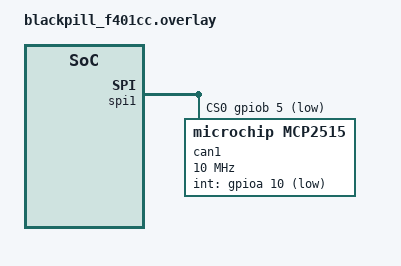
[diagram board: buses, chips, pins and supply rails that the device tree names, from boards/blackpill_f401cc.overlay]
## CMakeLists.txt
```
# SPDX-License-Identifier: Apache-2.0
cmake_minimum_required(VERSION 3.26)
set(BOARD blackpill_f401cc)
#set(DTC_OVERLAY_FILE "${CMAKE_CURRENT_SOURCE_DIR}/boards/stm32f401.overlay")
#set(DTC_OVERLAY_FILE "boards/blackpill_f401cc.overlay")
find_package(Zephyr REQUIRED HINTS $ENV{ZEPHYR_BASE})

project(NONE)

target_sources(app PRIVATE
        src/main.c
)

# Other board-specific configuration options can go here
```

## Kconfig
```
CONFIG_POLL=y
CONFIG_CAN=y
CONFIG_CAN_INIT_PRIORITY=80
CONFIG_CAN_MAX_FILTER=5

CONFIG_SHELL=y
CONFIG_CAN_SHELL=y
CONFIG_DEVICE_SHELL=y

CONFIG_GPIO=y
CONFIG_STATS=y
CONFIG_STATS_NAMES=y
CONFIG_STATS_SHELL=y
CONFIG_CAN_STATS=y
```

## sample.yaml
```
sample:
  name: CAN driver counter sample
tests:
  sample.drivers.can.counter:
    tags: can
    depends_on: can
    integration_platforms:
      - native_posix
    filter: dt_chosen_enabled("CAN,0")
    harness: console
    harness_config:
      type: one_line
      regex:
        - "Counter received: (.*)"
```

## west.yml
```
manifest:
  defaults:
    remote: zephyrproject-rtos
  remotes:
    - name: zephyrproject-rtos
      url-base: https://github.com/zephyrproject-rtos
```

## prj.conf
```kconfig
CONFIG_SHELL=y
CONFIG_CAN_SHELL=y
CONFIG_DEVICE_SHELL=y

CONFIG_GPIO=y

CONFIG_CAN=y
CONFIG_CAN_MCP2515=y
CONFIG_CAN_LOOPBACK=y

CONFIG_POLL=y
CONFIG_CAN=y
CONFIG_CAN_INIT_PRIORITY=80
CONFIG_CAN_MAX_FILTER=5

CONFIG_SHELL=y
CONFIG_CAN_SHELL=y
CONFIG_DEVICE_SHELL=y

CONFIG_GPIO=y
CONFIG_STATS=y
CONFIG_STATS_NAMES=y
CONFIG_STATS_SHELL=y
CONFIG_CAN_STATS=y
```

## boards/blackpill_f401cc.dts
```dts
/ {
    model = "WeAct Studio Black Pill V3.0 Board";
    compatible = "weact,blackpill-f401cc";

    chosen {
        zephyr,canbus = &can22;
    };
};

&can22 {
    status = "disabled";
    pinctrl-0 = <19 20>;
    pinctrl-names = "default";
    bus-speed = <125000>;
};
```

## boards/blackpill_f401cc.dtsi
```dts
/ {
    chosen {
        zephyr,console = &uart1;
    };

    aliases {
        uart1 = &usart1;
    };

    led0: led0 {
        gpios = <&gpioa 5 GPIO_ACTIVE_LOW>;
    };

    can0: can@0 {
        compatible = "microchip,mcp2515";
        reg = <0>;
        spi-max-frequency = <1000000>;
        interrupt-parent = <&gpioa>;
        interrupts = <4 GPIO_ACTIVE_LOW>;
        status = "okay";
    };
};
```

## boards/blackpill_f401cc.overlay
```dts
&spi1 {
    status = "okay";
    cs-gpios = <&gpiob 5 GPIO_ACTIVE_LOW>;

    can1: mcp2515@0 {
        compatible = "microchip,mcp2515";
        reg = <0>;
        spi-max-frequency = <10000000>;
        int-gpios = <&gpioa 10 GPIO_ACTIVE_LOW>;
        status = "okay";
        #address-cells = <1>;
        #size-cells = <0>;
        osc-freq = <20000000>;
        bus-speed = <500000>;
        sjw = <1>;
        prop-seg = <7>;
        phase-seg1 = <8>;
        phase-seg2 = <7>;
    };
};
```

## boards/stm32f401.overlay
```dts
&spi1 {
    status = "okay";
};

&spi1 {
    status = "okay";
    can0: can_mcp2515 {
        compatible = "microchip,mcp2515";
        /* reg = <0X10>; */
        spi-max-frequency = <1000000>;
        interrupt-parent = <&gpio1>;
        interrupts = <4 0>;
        label = "CAN_0";
    };
};
```

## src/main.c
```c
/*
 * Copyright (c) 2018 Alexander Wachter
 *
 * SPDX-License-Identifier: Apache-2.0
    */

#include <stdio.h>

#include <zephyr/kernel.h>
#include <zephyr/sys/printk.h>
#include <zephyr/device.h>
#include <zephyr/drivers/can.h>
#include <zephyr/drivers/gpio.h>
#include <zephyr/sys/byteorder.h>

#define RX_THREAD_STACK_SIZE 512
#define RX_THREAD_PRIORITY 2
#define STATE_POLL_THREAD_STACK_SIZE 512
#define STATE_POLL_THREAD_PRIORITY 2
#define LED_MSG_ID 0x10
#define COUNTER_MSG_ID 0x12345
#define SET_LED 1
#define RESET_LED 0
#define SLEEP_TIME K_MSEC(250)

K_THREAD_STACK_DEFINE(rx_thread_stack, RX_THREAD_STACK_SIZE);
K_THREAD_STACK_DEFINE(poll_state_stack, STATE_POLL_THREAD_STACK_SIZE);

const struct device *const can_dev = DEVICE_DT_GET(DT_NODELABEL(can1));
struct gpio_dt_spec led = GPIO_DT_SPEC_GET_OR(DT_ALIAS(led0), gpios, {0});

struct k_thread rx_thread_data;
struct k_thread poll_state_thread_data;
struct k_work_poll change_led_work;
struct k_work state_change_work;
enum can_state current_state;
struct can_bus_err_cnt current_err_cnt;

CAN_MSGQ_DEFINE(change_led_msgq, 2);
CAN_MSGQ_DEFINE(counter_msgq, 2);

static struct k_poll_event change_led_events[1] = {
        K_POLL_EVENT_STATIC_INITIALIZER(K_POLL_TYPE_MSGQ_DATA_AVAILABLE,
                                        K_POLL_MODE_NOTIFY_ONLY,
                                        &change_led_msgq, 0)
};

void tx_irq_callback(const struct device *dev, int error, void *arg)
{
    char *sender = (char *)arg;

    ARG_UNUSED(dev);

    if (error != 0) {
        printf("Callback! error-code: %d\nSender: %s\n",
               error, sender);
    }
}

void rx_thread(void *arg1, void *arg2, void *arg3)
{
    ARG_UNUSED(arg1);
    ARG_UNUSED(arg2);
    ARG_UNUSED(arg3);
    const struct can_filter filter = {
            .flags = CAN_FILTER_DATA | CAN_FILTER_IDE,
            .id = COUNTER_MSG_ID,
            .mask = CAN_EXT_ID_MASK
    };
    struct can_frame frame;
    int filter_id;

    filter_id = can_add_rx_filter_msgq(can_dev, &counter_msgq, &filter);
    printf("Counter filter id: %d\n", filter_id);

    while (1) {
        k_msgq_get(&counter_msgq, &frame, K_FOREVER);

        if (frame.dlc != 2U) {
            printf("Wrong data length: %u\n", frame.dlc);
            continue;
        }

        printf("Counter received: %u\n",
               sys_be16_to_cpu(UNALIGNED_GET((uint16_t *)&frame.data)));
    }
}

void change_led_work_handler(struct k_work *work)
{
    struct can_frame frame;
    int ret;

    while (k_msgq_get(&change_led_msgq, &frame, K_NO_WAIT) == 0) {
        if (led.port == NULL) {
            printf("LED %s\n", frame.data[0] == SET_LED ? "ON" : "OFF");
        } else {
            gpio_pin_set(led.port, led.pin, frame.data[0] == SET_LED ? 1 : 0);
        }
    }

    ret = k_work_poll_submit(&change_led_work, change_led_events,
                             ARRAY_SIZE(change_led_events), K_FOREVER);
    if (ret != 0) {
        printf("Failed to resubmit msgq polling: %d", ret);
    }
}

char *state_to_str(enum can_state state)
{
    switch (state) {
        case CAN_STATE_ERROR_ACTIVE:
            return "error-active";
        case CAN_STATE_ERROR_WARNING:
            return "error-warning";
        case CAN_STATE_ERROR_PASSIVE:
            return "error-passive";
        case CAN_STATE_BUS_OFF:
            return "bus-off";
        case CAN_STATE_STOPPED:
            return "stopped";
        default:
            return "unknown";
    }
}

void poll_state_thread(void *unused1, void *unused2, void *unused3)
{
    struct can_bus_err_cnt err_cnt = {0, 0};
    struct can_bus_err_cnt err_cnt_prev = {0, 0};
    enum can_state state_prev = CAN_STATE_ERROR_ACTIVE;
    enum can_state state;
    int err;

    while (1) {
        err = can_get_state(can_dev, &state, &err_cnt);
        if (err != 0) {
            printf("Failed to get CAN controller state: %d", err);
            k_sleep(K_MSEC(100));
            continue;
        }

        if (err_cnt.tx_err_cnt != err_cnt_prev.tx_err_cnt ||
            err_cnt.rx_err_cnt != err_cnt_prev.rx_err_cnt ||
            state_prev != state) {

            err_cnt_prev.tx_err_cnt = err_cnt.tx_err_cnt;
            err_cnt_prev.rx_err_cnt = err_cnt.rx_err_cnt;
            state_prev = state;
            printf("state: %s\n"
                   "rx error count: %d\n"
                   "tx error count: %d\n",
                   state_to_str(state),
                   err_cnt.rx_err_cnt, err_cnt.tx_err_cnt);
        } else {
            k_sleep(K_MSEC(100));
        }
    }
}

void state_change_work_handler(struct k_work *work)
{
    printf("State Change ISR\nstate: %s\n"
           "rx error count: %d\n"
           "tx error count: %d\n",
           state_to_str(current_state),
           current_err_cnt.rx_err_cnt, current_err_cnt.tx_err_cnt);

#ifndef CONFIG_CAN_AUTO_BUS_OFF_RECOVERY
    if (current_state == CAN_STATE_BUS_OFF) {
        printf("Recover from bus-off\n");

        if (can_recover(can_dev, K_MSEC(100)) != 0) {
            printf("Recovery timed out\n");
        }
    }
#endif /* CONFIG_CAN_AUTO_BUS_OFF_RECOVERY */
}

void state_change_callback(const struct device *dev, enum can_state state,
                           struct can_bus_err_cnt err_cnt, void *user_data)
{
    struct k_work *work = (struct k_work *)user_data;

    ARG_UNUSED(dev);

    current_state = state;
    current_err_cnt = err_cnt;
    k_work_submit(work);
}

int main(void)
{
    const struct can_filter change_led_filter = {
            .flags = CAN_FILTER_DATA,
            .id = LED_MSG_ID,
            .mask = CAN_STD_ID_MASK
    };
    struct can_frame change_led_frame = {
            .flags = 0,
            .id = LED_MSG_ID,
            .dlc = 1
    };
    struct can_frame counter_frame = {
            .flags = CAN_FRAME_IDE,
            .id = COUNTER_MSG_ID,
            .dlc = 2
    };
    uint8_t toggle = 1;
    uint16_t counter = 0;
    k_tid_t rx_tid, get_state_tid;
    int ret;

    if (!device_is_ready(can_dev)) {
        printf("CAN: Device %s not ready.\n", can_dev->name);
        return 0;
    }

#ifdef CONFIG_LOOPBACK_MODE
    ret = can_set_mode(can_dev, CAN_MODE_LOOPBACK);
	if (ret != 0) {
		printf("Error setting CAN mode [%d]", ret);
		return 0;
	}
#endif
    ret = can_start(can_dev);
    if (ret != 0) {
        printf("Error starting CAN controller [%d]", ret);
        return 0;
    }

    if (led.port != NULL) {
        if (!device_is_ready(led.port)) {
            printf("LED: Device %s not ready.\n",
                   led.port->name);
            return 0;
        }
        ret = gpio_pin_configure_dt(&led, GPIO_OUTPUT_HIGH);
        if (ret < 0) {
            printf("Error setting LED pin to output mode [%d]",
                   ret);
            led.port = NULL;
        }
    }

    k_work_init(&state_change_work, state_change_work_handler);
    k_work_poll_init(&change_led_work, change_led_work_handler);

    ret = can_add_rx_filter_msgq(can_dev, &change_led_msgq, &change_led_filter);
    if (ret == -ENOSPC) {
        printf("Error, no filter available!\n");
        return 0;
    }

    printf("Change LED filter ID: %d\n", ret);

    ret = k_work_poll_submit(&change_led_work, change_led_events,
                             ARRAY_SIZE(change_led_events), K_FOREVER);
    if (ret != 0) {
        printf("Failed to submit msgq polling: %d", ret);
        return 0;
    }

    rx_tid = k_thread_create(&rx_thread_data, rx_thread_stack,
                             K_THREAD_STACK_SIZEOF(rx_thread_stack),
                             rx_thread, NULL, NULL, NULL,
                             RX_THREAD_PRIORITY, 0, K_NO_WAIT);
    if (!rx_tid) {
        printf("ERROR spawning rx thread\n");
    }

    get_state_tid = k_thread_create(&poll_state_thread_data,
                                    poll_state_stack,
                                    K_THREAD_STACK_SIZEOF(poll_state_stack),
                                    poll_state_thread, NULL, NULL, NULL,
                                    STATE_POLL_THREAD_PRIORITY, 0,
                                    K_NO_WAIT);
    if (!get_state_tid) {
        printf("ERROR spawning poll_state_thread\n");
    }

    can_set_state_change_callback(can_dev, state_change_callback, &state_change_work);

    printf("Finished init.\n");

    while (1) {
        change_led_frame.data[0] = toggle++ & 0x01 ? SET_LED : RESET_LED;
        /* This sending call is none blocking. */
        can_send(can_dev, &change_led_frame, K_FOREVER,
                 tx_irq_callback,
                 "LED change");
        k_sleep(SLEEP_TIME);

        UNALIGNED_PUT(sys_cpu_to_be16(counter),
                      (uint16_t *)&counter_frame.data[0]);
        counter++;
        /* This sending call is blocking until the message is sent. */
        can_send(can_dev, &counter_frame, K_MSEC(100), NULL, NULL);
        k_sleep(SLEEP_TIME);
    }
}
```

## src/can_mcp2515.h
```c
/*
 * Copyright (c) 2018 Karsten Koenig
 *
 * SPDX-License-Identifier: Apache-2.0
 *
 */

#ifndef _MCP2515_H_
#define _MCP2515_H_

#include <zephyr/drivers/gpio.h>
#include <zephyr/drivers/can.h>

#define MCP2515_RX_CNT                   2
/* Reduce the number of Tx buffers to 1 in order to avoid priority inversion. */
#define MCP2515_TX_CNT                   1
#define MCP2515_FRAME_LEN               13
#define CONFIG_CAN_MAX_FILTER           16  // Or whatever value is appropriate for your project
struct mcp2515_tx_cb {
	can_tx_callback_t cb;
	void *cb_arg;
};

struct mcp2515_data {
	/* interrupt data */
	struct gpio_callback int_gpio_cb;
	struct k_thread int_thread;
	k_thread_stack_t *int_thread_stack;
	struct k_sem int_sem;

	/* tx data */
	struct k_sem tx_sem;
	struct mcp2515_tx_cb tx_cb[MCP2515_TX_CNT];
	uint8_t tx_busy_map;

	/* filter data */
	uint32_t filter_usage;
	can_rx_callback_t rx_cb[CONFIG_CAN_MAX_FILTER];
	void *cb_arg[CONFIG_CAN_MAX_FILTER];
	struct can_filter filter[CONFIG_CAN_MAX_FILTER];
	can_state_change_callback_t state_change_cb;
	void *state_change_cb_data;

	/* general data */
	struct k_mutex mutex;
	enum can_state old_state;
	uint8_t mcp2515_mode;
	bool started;
	uint8_t sjw;
};

struct mcp2515_config {
	/* spi configuration */
	struct spi_dt_spec bus;

	/* interrupt configuration */
	struct gpio_dt_spec int_gpio;
	size_t int_thread_stack_size;
	int int_thread_priority;

	/* CAN timing */
	uint8_t tq_sjw;
	uint8_t tq_prop;
	uint8_t tq_bs1;
	uint8_t tq_bs2;
	uint32_t bus_speed;
	uint32_t osc_freq;
	uint16_t sample_point;

	/* CAN transceiver */
	const struct device *phy;
	uint32_t max_bitrate;
};

/*
 * Startup time of 128 OSC1 clock cycles at 1MHz (minimum clock in frequency)
 * see MCP2515 datasheet section 8.1 Oscillator Start-up Timer
 */
#define MCP2515_OSC_STARTUP_US		128U

/* MCP2515 Opcodes */
#define MCP2515_OPCODE_WRITE            0x02
#define MCP2515_OPCODE_READ             0x03
#define MCP2515_OPCODE_BIT_MODIFY       0x05
#define MCP2515_OPCODE_LOAD_TX_BUFFER   0x40
#define MCP2515_OPCODE_RTS              0x80
#define MCP2515_OPCODE_READ_RX_BUFFER   0x90
#define MCP2515_OPCODE_READ_STATUS      0xA0
#define MCP2515_OPCODE_RESET            0xC0

/* MCP2515 Registers */
#define MCP2515_ADDR_CANSTAT            0x0E
#define MCP2515_ADDR_CANCTRL            0x0F
#define MCP2515_ADDR_TEC                0x1C
#define MCP2515_ADDR_REC                0x1D
#define MCP2515_ADDR_CNF3               0x28
#define MCP2515_ADDR_CNF2               0x29
#define MCP2515_ADDR_CNF1               0x2A
#define MCP2515_ADDR_CANINTE            0x2B
#define MCP2515_ADDR_CANINTF            0x2C
#define MCP2515_ADDR_EFLG               0x2D
#define MCP2515_ADDR_TXB0CTRL           0x30
#define MCP2515_ADDR_TXB1CTRL           0x40
#define MCP2515_ADDR_TXB2CTRL           0x50
#define MCP2515_ADDR_RXB0CTRL           0x60
#define MCP2515_ADDR_RXB1CTRL           0x70

#define MCP2515_ADDR_OFFSET_FRAME2FRAME	0x10
#define MCP2515_ADDR_OFFSET_CTRL2FRAME	0x01

/* MCP2515 Operation Modes */
#define MCP2515_MODE_NORMAL             0x00
#define MCP2515_MODE_LOOPBACK           0x02
#define MCP2515_MODE_SILENT             0x03
#define MCP2515_MODE_CONFIGURATION      0x04

/* MCP2515_FRAME_OFFSET */
#define MCP2515_FRAME_OFFSET_SIDH       0
#define MCP2515_FRAME_OFFSET_SIDL       1
#define MCP2515_FRAME_OFFSET_EID8       2
#define MCP2515_FRAME_OFFSET_EID0       3
#define MCP2515_FRAME_OFFSET_DLC        4
#define MCP2515_FRAME_OFFSET_D0         5

/* MCP2515_CANINTF */
#define MCP2515_CANINTF_RX0IF           BIT(0)
#define MCP2515_CANINTF_RX1IF           BIT(1)
#define MCP2515_CANINTF_TX0IF           BIT(2)
#define MCP2515_CANINTF_TX1IF           BIT(3)
#define MCP2515_CANINTF_TX2IF           BIT(4)
#define MCP2515_CANINTF_ERRIF           BIT(5)
#define MCP2515_CANINTF_WAKIF           BIT(6)
#define MCP2515_CANINTF_MERRF           BIT(7)

#define MCP2515_INTE_RX0IE              BIT(0)
#define MCP2515_INTE_RX1IE              BIT(1)
#define MCP2515_INTE_TX0IE              BIT(2)
#define MCP2515_INTE_TX1IE              BIT(3)
#define MCP2515_INTE_TX2IE              BIT(4)
#define MCP2515_INTE_ERRIE              BIT(5)
#define MCP2515_INTE_WAKIE              BIT(6)
#define MCP2515_INTE_MERRE              BIT(7)

#define MCP2515_EFLG_EWARN              BIT(0)
#define MCP2515_EFLG_RXWAR              BIT(1)
#define MCP2515_EFLG_TXWAR              BIT(2)
#define MCP2515_EFLG_RXEP               BIT(3)
#define MCP2515_EFLG_TXEP               BIT(4)
#define MCP2515_EFLG_TXBO               BIT(5)
#define MCP2515_EFLG_RX0OVR             BIT(6)
#define MCP2515_EFLG_RX1OVR             BIT(7)

#define MCP2515_TXCTRL_TXREQ			BIT(3)

#define MCP2515_CANSTAT_MODE_POS		5
#define MCP2515_CANSTAT_MODE_MASK		(0x07 << MCP2515_CANSTAT_MODE_POS)
#define MCP2515_CANCTRL_MODE_POS		5
#define MCP2515_CANCTRL_MODE_MASK		(0x07 << MCP2515_CANCTRL_MODE_POS)
#define MCP2515_TXBNCTRL_TXREQ_POS		3
#define MCP2515_TXBNCTRL_TXREQ_MASK		(0x01 << MCP2515_TXBNCTRL_TXREQ_POS)

#endif /*_MCP2515_H_*/
```
